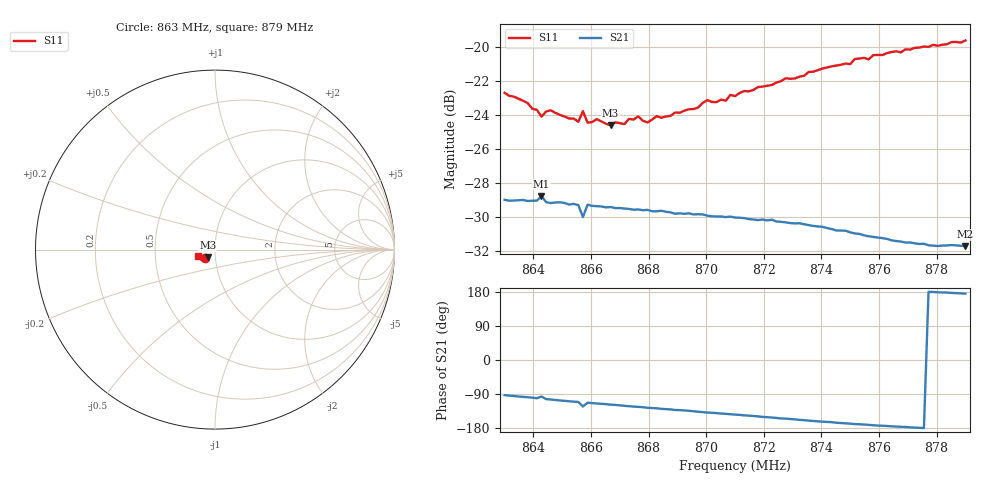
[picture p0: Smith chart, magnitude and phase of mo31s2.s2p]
# HZ S RI R 50
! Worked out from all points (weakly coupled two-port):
!   101 points, 863 MHz to 879 MHz, reference 50 ohm
!   highest |S21| = -28.79 dB at 864.28 MHz (marker M1); lowest = -31.7 dB at 879 MHz (marker M2)
!   lowest |S11| = -24.6 dB at 866.68 MHz (marker M3), VSWR 1.12, Z = 46 - j3.94 ohm
!   |S11| at or under -10 dB: start of sweep to end of sweep
!   S12 and S22 are empty: the file has one direction only
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8.63e8  -0.0578 -0.0447  -0.00169 -0.0354  0 0  0 0
8.638e8  -0.0539 -0.0418  -0.00505 -0.0348  0 0  0 0
8.6412e8  -0.0505 -0.0411  -0.00662 -0.0346  0 0  0 0
8.6428e8  -0.0445 -0.0434  -0.00397 -0.0361  0 0  0 0
8.646e8  -0.0502 -0.0413  -0.00855 -0.0336  0 0  0 0
8.6556e8  -0.0438 -0.0412  -0.0121 -0.032  0 0  0 0
8.6572e8  -0.0483 -0.0429  -0.017 -0.0265  0 0  0 0
8.6588e8  -0.0431 -0.0413  -0.0133 -0.0316  0 0  0 0
8.662e8  -0.0431 -0.0434  -0.0143 -0.0308  0 0  0 0
8.6668e8  -0.0401 -0.0428  -0.0158 -0.0298  0 0  0 0
8.6716e8  -0.0393 -0.0443  -0.0171 -0.0287  0 0  0 0
8.6764e8  -0.0401 -0.0477  -0.0184 -0.0276  0 0  0 0
8.6796e8  -0.0377 -0.0464  -0.0195 -0.0268  0 0  0 0
8.6828e8  -0.0389 -0.0488  -0.0199 -0.026  0 0  0 0
8.6844e8  -0.0387 -0.0481  -0.0207 -0.0256  0 0  0 0
8.6972e8  -0.0397 -0.053  -0.0233 -0.0221  0 0  0 0
8.7004e8  -0.042 -0.0555  -0.0239 -0.0211  0 0  0 0
8.7036e8  -0.0411 -0.055  -0.0243 -0.0203  0 0  0 0
8.71e8  -0.0433 -0.0569  -0.0254 -0.0184  0 0  0 0
8.7372e8  -0.0578 -0.0615  -0.0281 -0.0097  0 0  0 0
8.7644e8  -0.0795 -0.0546  -0.0268 -0.00235  0 0  0 0
8.79e8  -0.0973 -0.0375  -0.0258 0.0022  0 0  0 0
